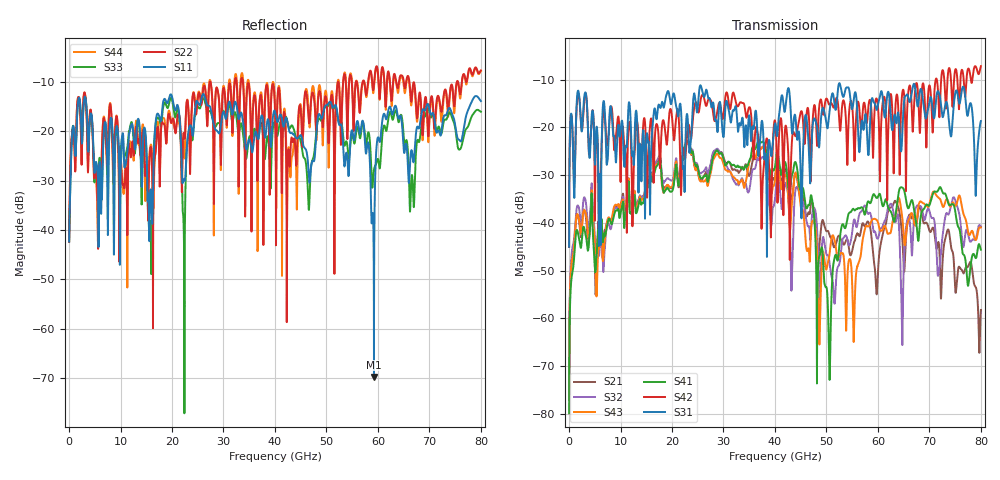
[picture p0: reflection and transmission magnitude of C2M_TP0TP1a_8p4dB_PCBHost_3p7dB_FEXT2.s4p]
!! Reference: shanbhag_3dj_03_2305.pdf
!! CHANNEL DESCRIPTION: TP0_TP1a C2M Channel, PCB Host
!! MODEL DESCRIPTION: s4p, FEXT2
!! CONNECTOR DESCRIPTION: OSFP 200G SMT
!! MODEL STATUS: Developmental
!! PORT DEFINITIONS:
!! Port  1  ----->  Side A  Side B  <-----  Port  2
!! Port  3  ----->  Side A  Side B  <-----  Port  4
# HZ S MA R 50.000000
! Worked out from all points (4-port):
!   8000 points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, 10 MHz to 80 GHz, reference 50 ohm
!   strongest paths, dB at 10 MHz, 20.01 GHz, 40.01 GHz, 60.01 GHz, 80 GHz:
!     S31: -45.0, -14.2, -19.2, -15.2, -18.7
!     S42: -45.0, -18.0, -18.6, -15.7, -7.2
!     S41: -79.9, -33.4, -28.3, -34.5, -45.6
!     S43: -76.9, -32.4, -31.0, -39.9, -41.0
!     S32: -74.4, -31.2, -35.1, -43.2, -40.7
!     S21: -77.0, -32.8, -30.3, -50.2, -58.2
!   lowest |S11| = -69.8 dB at 59.23 GHz (marker M1), VSWR 1.00, Z = 50 + j0.0322 ohm
!   |S11| at or under -10 dB: start of sweep to end of sweep
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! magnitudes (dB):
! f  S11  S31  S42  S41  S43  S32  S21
! 10 MHz  -42.4  -45.0  -45.0  -79.9  -76.9  -74.4  -77.0
! 1.61 GHz  -15.9  -13.0  -13.8  -41.6  -38.2  -36.4  -38.3
! 23 GHz  -21.6  -17.6  -20.5  -23.1  -23.2  -22.8  -23.4
! 44.03 GHz  -21.3  -18.4  -21.8  -27.4  -29.5  -32.9  -29.8
! 50.58 GHz  -14.1  -16.7  -15.2  -72.5  -46.7  -48.2  -42.5
! 59.23 GHz  -69.8  -14.8  -19.4  -34.0  -39.2  -41.9  -48.2
! 80 GHz  -13.9  -18.7  -7.2  -45.6  -41.0  -40.7  -58.2
